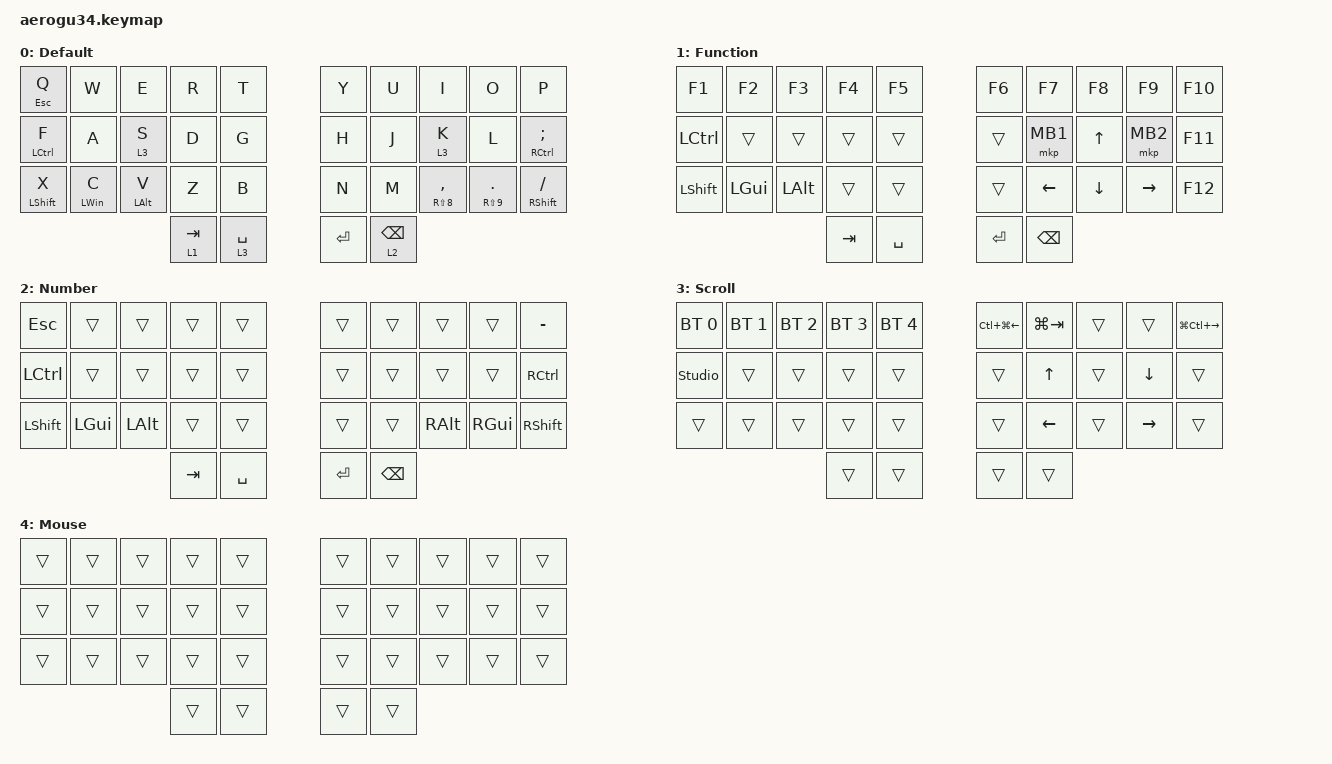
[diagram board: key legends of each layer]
#define ZMK_POINTING_DEFAULT_SCRL_VAL 200

#include <dt-bindings/zmk/mouse.h>
#include <behaviors.dtsi>
#include <dt-bindings/zmk/bt.h>
#include <dt-bindings/zmk/keys.h>
#include <dt-bindings/zmk/pointing.h>

// OS設定を日本語キーボードのまま使用するための変換定義

#define JP_DQUOTE       AT                // "
#define JP_AMPERSAND    CARET             // &
#define JP_QUOTE        AMPERSAND         // '
#define JP_EQUAL        UNDER             // =
#define JP_CARET        EQUAL             // ^
#define JP_YEN          0x89              // ¥
#define JP_PLUS         COLON             // +
#define JP_TILDE        PLUS              // ~
#define JP_PIPE         LS(0x89)          // |
#define JP_AT           LEFT_BRACKET      // @
#define JP_COLON        SINGLE_QUOTE      // :
#define JP_ASTERISK     DOUBLE_QUOTES     // *
#define JP_BACKQUOTE    LEFT_BRACE        // `
#define JP_UNDERSCORE   LS(0x87)          // _
#define JP_LBRACKET     RIGHT_BRACKET     // [
#define JP_RBRACKET     BACKSLASH         // ]
#define JP_LPAREN       ASTERISK          // (
#define JP_RPAREN       LEFT_PARENTHESIS  // )
#define JP_LBRACE       RIGHT_BRACE       // {
#define JP_RBRACE       PIPE              // }
#define JP_KANA         LANGUAGE_1        // かな
#define JP_EISU         LANGUAGE_2        // 英数
#define JP_HANZEN       GRAVE             // 半角/全角

&mt {
    tapping-term-ms = <300>;
    flavor = "balanced";
};

&lt { quick-tap-ms = <300>; };

/ {
    combos {
        compatible = "zmk,combos";

        btreset {
            bindings = <&bt BT_CLR>;
            key-positions = <0 4>;
            layers = <3>;
        };

        boot {
            bindings = <&bootloader>;
            key-positions = <1 2 3>;
            layers = <3>;
        };

        mk1 {
            bindings = <&mkp MB1>;
            key-positions = <16 17>;
        };

        mk2 {
            bindings = <&mkp MB2>;
            key-positions = <26 27>;
        };

        lang1 {
            bindings = <&kp LANG1>;
            key-positions = <23 24>;
        };

        lang2 {
            bindings = <&kp LANG2>;
            key-positions = <25 26>;
        };

        brace {
            bindings = <&kp LS(N8)>;
            key-positions = <33 28>;
        };

        brace1 {
            bindings = <&kp RS(N9)>;
            key-positions = <33 29>;
        };

        bracket {
            bindings = <&kp LEFT_BRACKET>;
            key-positions = <14 13>;
        };

        bracket1 {
            bindings = <&kp RIGHT_BRACKET>;
            key-positions = <15 16>;
        };

        exc {
            bindings = <&kp RS(NUMBER_1)>;
            key-positions = <28 29>;
        };

        one {
            bindings = <&kp NUMBER_1>;
            key-positions = <0 1>;
        };

        two {
            bindings = <&kp NUMBER_2>;
            key-positions = <10 11>;
        };

        three {
            bindings = <&kp NUMBER_3>;
            key-positions = <20 21>;
        };

        four {
            bindings = <&kp NUMBER_4>;
            key-positions = <1 2>;
        };

        five {
            bindings = <&kp NUMBER_5>;
            key-positions = <11 12>;
        };

        six {
            bindings = <&kp NUMBER_6>;
            key-positions = <7 8>;
        };

        seven {
            bindings = <&kp NUMBER_7>;
            key-positions = <17 18>;
        };

        eight {
            bindings = <&kp NUMBER_8>;
            key-positions = <27 28>;
        };

        nine {
            bindings = <&kp NUMBER_9>;
            key-positions = <9 8>;
        };

        zero {
            bindings = <&kp NUMBER_0>;
            key-positions = <18 19>;
        };

        psc {
            bindings = <&kp LG(LS(S))>;
            key-positions = <26 25 33>;
        };

        mb1 {
            bindings = <&mkp MB1>;
            key-positions = <12 13>;
        };

        mb2 {
            bindings = <&mkp MB2>;
            key-positions = <22 23>;
        };
    };

    keymap {
        compatible = "zmk,keymap";

        default_layer {
            display-name = "Default";
            bindings = <
&mt ESCAPE Q      &kp W           &kp E           &kp R  &kp T  &kp Y      &kp U            &kp I             &kp O           &kp P
&mt LCTRL F       &kp A           &lt 3 S         &kp D  &kp G  &kp H      &kp J            &lt 3 K           &kp L           &mt RCTRL SEMI
&mt LEFT_SHIFT X  &mt LEFT_WIN C  &mt LEFT_ALT V  &kp Z  &kp B  &kp N      &kp M            &mt RS(N8) COMMA  &mt RS(N9) DOT  &mt RIGHT_SHIFT SLASH
&lt 1 TAB         &lt 3 SPACE                                   &kp ENTER  &lt 2 BACKSPACE
            >;
        };

        function_layer {
            display-name = "Function";
            bindings = <
&kp F1            &kp F2        &kp F3        &kp F4  &kp F5  &kp F6     &kp F7         &kp F8    &kp F9     &kp F10
&kp LEFT_CONTROL  &trans        &trans        &trans  &trans  &trans     &mkp MB1       &kp UP    &mkp MB2   &kp F11
&kp LEFT_SHIFT    &kp LEFT_GUI  &kp LEFT_ALT  &trans  &trans  &trans     &kp LEFT       &kp DOWN  &kp RIGHT  &kp F12
&kp TAB           &kp SPACE                                   &kp ENTER  &kp BACKSPACE
            >;
        };

        number_layer {
            display-name = "Number";
            bindings = <
&kp ESCAPE        &trans        &trans        &trans  &trans  &trans     &trans         &trans         &trans         &kp MINUS
&kp LEFT_CONTROL  &trans        &trans        &trans  &trans  &trans     &trans         &trans         &trans         &kp RIGHT_CONTROL
&kp LEFT_SHIFT    &kp LEFT_GUI  &kp LEFT_ALT  &trans  &trans  &trans     &trans         &kp RIGHT_ALT  &kp RIGHT_GUI  &kp RIGHT_SHIFT
&kp TAB           &kp SPACE                                   &kp ENTER  &kp BACKSPACE
            >;
        };

        scroll_layer {
            display-name = "Scroll";
            bindings = <
&bt BT_SEL 0    &bt BT_SEL 1  &bt BT_SEL 2  &bt BT_SEL 3  &bt BT_SEL 4  &kp LC(LG(LEFT))  &kp LG(TAB)  &trans  &trans     &kp LG(LC(RIGHT))
&studio_unlock  &trans        &trans        &trans        &trans        &trans            &kp UP       &trans  &kp DOWN   &trans
&trans          &trans        &trans        &trans        &trans        &trans            &kp LEFT     &trans  &kp RIGHT  &trans
&trans          &trans                                                  &trans            &trans
            >;
        };

        mouse_layer {
            display-name = "Mouse";
            bindings = <
&trans  &trans  &trans  &trans  &trans  &trans  &trans  &trans  &trans  &trans
&trans  &trans  &trans  &trans  &trans  &trans  &trans  &trans  &trans  &trans
&trans  &trans  &trans  &trans  &trans  &trans  &trans  &trans  &trans  &trans
&trans  &trans                          &trans  &trans
            >;
        };
    };
};
